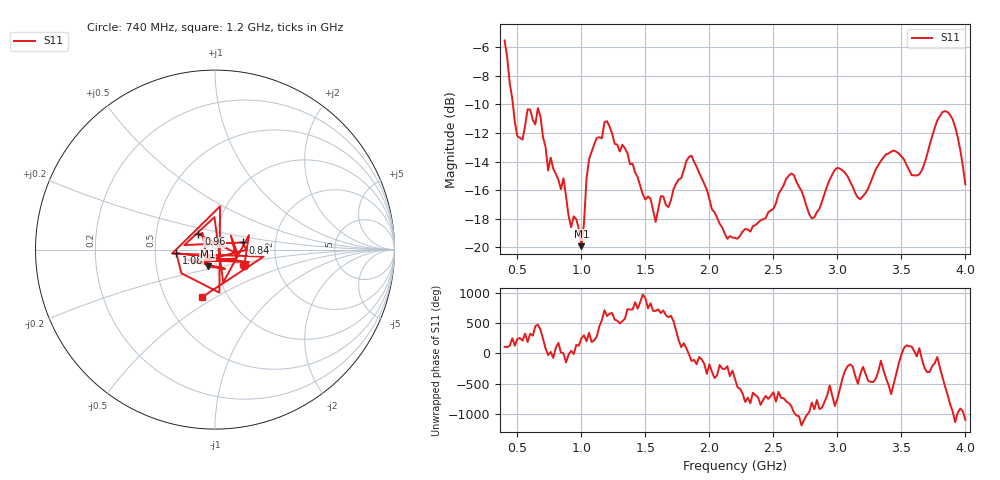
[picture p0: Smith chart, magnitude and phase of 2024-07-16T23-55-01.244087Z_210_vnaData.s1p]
!Created with skrf (http://scikit-rf.org).
# Hz S RI R 50.0
!freq ReS11 ImS11
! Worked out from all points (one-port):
!   181 points, 400 MHz to 4 GHz, reference 50 ohm
!   lowest |S11| = -19.9 dB at 1 GHz (marker M1), VSWR 1.22, Z = 45.4 - j8.53 ohm
!   |S11| at or under -10 dB: 464.8 MHz to end of sweep
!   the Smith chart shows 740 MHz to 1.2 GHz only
!   S11 on the Smith chart (normalised r, x): 740 MHz: 1.36, -0.25; 840 MHz: 1.36, +0.11; 960 MHz: 0.82, +0.14; 1.08 GHz: 0.65, -0.03; 1.2 GHz: 0.75, -0.43
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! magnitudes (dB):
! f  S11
! 400 MHz  -5.5
! 500 MHz  -12.2
! 660 MHz  -10.3
! 740 MHz  -14.6
! 840 MHz  -15.9
! 860 MHz  -15.2
! 920 MHz  -18.6
! 960 MHz  -18.0
! 1 GHz  -19.9
! 1.04 GHz  -15.2
! 1.08 GHz  -13.3
! 1.2 GHz  -11.2
! 1.3 GHz  -13.3
! 1.58 GHz  -18.2
! 1.76 GHz  -15.3
! 1.86 GHz  -13.6
! 2.2 GHz  -19.3
! 2.66 GHz  -14.9
! 2.8 GHz  -18.0
! 2.98 GHz  -14.6
! 3.1 GHz  -15.4
! 3.18 GHz  -16.6
! 3.44 GHz  -13.2
! 3.56 GHz  -14.6
! 3.66 GHz  -14.6
! 3.84 GHz  -10.5
! 3.92 GHz  -11.6
! 4 GHz  -15.6
